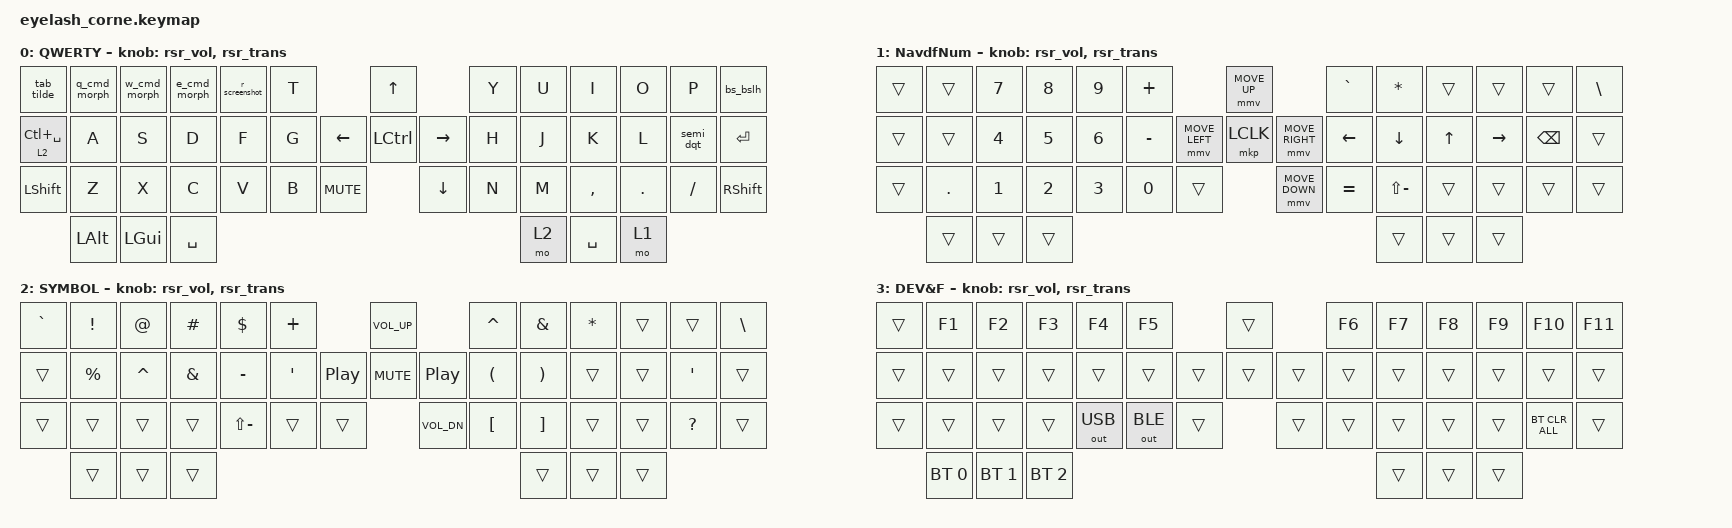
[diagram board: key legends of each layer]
#define ZMK_POINTING_DEFAULT_MOVE_VAL 1200  // 600
#define ZMK_POINTING_DEFAULT_SCRL_VAL 25   // 10

#include <input/processors.dtsi>
#include <zephyr/dt-bindings/input/input-event-codes.h>
#include <behaviors.dtsi>
#include <behaviors/runtime-sensor-rotate.dtsi>
#include <dt-bindings/zmk/bt.h>
#include <dt-bindings/zmk/keys.h>
#include <dt-bindings/zmk/outputs.h>
#include <dt-bindings/zmk/pointing.h>
#include <dt-bindings/zmk/rgb.h>

&mmv_input_listener { input-processors = <&zip_xy_scaler 2 1>; };

&msc_input_listener { input-processors = <&zip_scroll_scaler 2 1>; };

&msc {
    acceleration-exponent = <1>;      // 0
    time-to-max-speed-ms = <100>;       // 300
    delay-ms = <0>;                   // 0
};

&mmv {
    time-to-max-speed-ms = <500>;
    acceleration-exponent = <1>;
    trigger-period-ms = <16>;
};

&soft_off { hold-time-ms = <2000>; };

/ {
    behaviors {
      
        td_spc_mo1: td_spc_mo1 {
            compatible = "zmk,behavior-tap-dance";
            #binding-cells = <0>;
            bindings = <&kp SPACE>, <&mo 1>;
        };

     

        bs_bslh: bs_bslh {
            compatible = "zmk,behavior-mod-morph";
            #binding-cells = <0>;
            bindings = <&kp BSPC>, <&kp BSLH>;
            mods = <(MOD_RSFT)>;
        };

        semi_dqt: semi_dqt {
            compatible = "zmk,behavior-mod-morph";
            #binding-cells = <0>;
            bindings = <&kp SEMI>, <&kp DQT>;
            mods = <(MOD_RSFT)>;
        };

        td_comma_dun: td_comma_dun {
            compatible = "zmk,behavior-tap-dance";
            #binding-cells = <0>;
            tapping-term-ms = <130>;
            bindings = <&kp COMMA>, <&kp BSLH>;
        };

        tab_tilde: tab_tilde {
            compatible = "zmk,behavior-mod-morph";
            #binding-cells = <0>;
            bindings = <&kp TAB>, <&kp TILDE>;
            mods = <(MOD_RSFT)>;
        };

        ctrl_tab: ctrl_tab {
            compatible = "zmk,behavior-hold-tap";
            #binding-cells = <2>;
            flavor = "tap-preferred";
            tapping-term-ms = <200>;
            bindings = <&mo>, <&kp>;
        };

        r_shift_screenshot: r_shift_screenshot {
            compatible = "zmk,behavior-mod-morph";
            #binding-cells = <0>;
            bindings = <&kp LG(R)>, <&kp LG(LS(N4))>;
            mods = <(MOD_LSFT)>;
        };

        r_screenshot: r_screenshot {
            compatible = "zmk,behavior-mod-morph";
            #binding-cells = <0>;
            bindings = <&kp R>, <&r_shift_screenshot>;
            mods = <(MOD_LGUI)>;
        };

        // Cmd + Q -> Cmd + 1 / Double Cmd + Q -> Cmd + Q
        td_cmd_q: td_cmd_q {
            compatible = "zmk,behavior-tap-dance";
            #binding-cells = <0>;
            tapping-term-ms = <250>;
            bindings = <&kp LG(N1)>, <&kp LG(Q)>;
        };
        q_cmd_morph: q_cmd_morph {
            compatible = "zmk,behavior-mod-morph";
            #binding-cells = <0>;
            bindings = <&kp Q>, <&td_cmd_q>;
            mods = <(MOD_LGUI|MOD_RGUI)>;
        };

        // Cmd + W -> Cmd + 2 / Double Cmd + W -> Cmd + W
        td_cmd_w: td_cmd_w {
            compatible = "zmk,behavior-tap-dance";
            #binding-cells = <0>;
            tapping-term-ms = <200>;
            bindings = <&kp LG(N2)>, <&kp LG(W)>;
        };
        w_cmd_morph: w_cmd_morph {
            compatible = "zmk,behavior-mod-morph";
            #binding-cells = <0>;
            bindings = <&kp W>, <&td_cmd_w>;
            mods = <(MOD_LGUI|MOD_RGUI)>;
        };

        // Cmd + E -> Cmd + 3 / Double Cmd + E -> Cmd + E
        td_cmd_e: td_cmd_e {
            compatible = "zmk,behavior-tap-dance";
            #binding-cells = <0>;
            tapping-term-ms = <200>;
            bindings = <&kp LG(N3)>, <&kp LG(E)>;
        };
        e_cmd_morph: e_cmd_morph {
            compatible = "zmk,behavior-mod-morph";
            #binding-cells = <0>;
            bindings = <&kp E>, <&td_cmd_e>;
            mods = <(MOD_LGUI|MOD_RGUI)>;
        };
    };

    rgb_encoder: rgb_encoder {
        compatible = "zmk,behavior-sensor-rotate";
        #sensor-binding-cells = <0>;
        bindings = <&rgb_ug RGB_BRI>, <&rgb_ug RGB_BRD>;
    };

    scroll_encoder: scroll_encoder {
        compatible = "zmk,behavior-sensor-rotate";
        #sensor-binding-cells = <0>;
        bindings = <&msc SCRL_DOWN>, <&msc SCRL_UP>;

        tap-ms = <100>;
    };

    behaviors {
        rsr_vol: rsr_vol {
            compatible = "zmk,behavior-runtime-sensor-rotate";
            #sensor-binding-cells = <0>;
            tap-ms = <5>;
            cw-binding = <&kp C_VOL_UP>;
            ccw-binding = <&kp C_VOL_DN>;
        };

        rsr_trans: rsr_trans {
            compatible = "zmk,behavior-runtime-sensor-rotate";
            #sensor-binding-cells = <0>;
            tap-ms = <0>;
        };
    };

    combos {
        compatible = "zmk,combos";

        softoff {
            bindings = <&soft_off>;
            key-positions = <1 15 29>;
        };


        combo_esc {
            timeout-ms = <50>;
            key-positions = <0 1>;
            bindings = <&kp ESC>;
        };
    };

    conditional_layers {
        compatible = "zmk,conditional-layers";
        tri_layer {
            if-layers = <1 2>;
            then-layer = <3>;
        };
    };

    keymap {
        compatible = "zmk,keymap";

        default_layer {
            display-name = "QWERTY";
            bindings = <
&tab_tilde              &q_cmd_morph    &w_cmd_morph    &e_cmd_morph    &r_screenshot   &kp T                                   &kp UP                      &kp Y  &kp U        &kp I      &kp O    &kp P          &bs_bslh
&ctrl_tab 2 LC(SPACE)   &kp A           &kp S           &kp D           &kp F           &kp G                       &kp LEFT    &kp LCTRL   &kp RIGHT       &kp H  &kp J        &kp K      &kp L    &semi_dqt      &kp ENTER
&kp LSHIFT              &kp Z           &kp X           &kp C           &kp V           &kp B        &kp C_MUTE                 &kp DOWN                    &kp N  &kp M        &kp COMMA  &kp DOT  &kp FSLH       &kp RSHIFT
                        &kp LEFT_ALT    &kp LGUI        &kp SPACE                                                                                                  &mo 2  &kp SPACE    &mo 1
            >;

            sensor-bindings = <&rsr_vol &rsr_trans>;
        };

        lower_layer {
            display-name = "NavdfNum";
            bindings = <
&trans     &trans   &kp N7 &kp N8         &kp N9      &kp PLUS                               &mmv MOVE_UP                       &kp GRAVE   &kp STAR   &trans     &trans         &trans         &kp BSLH
&trans     &trans   &kp N4 &kp N5         &kp N6      &kp MINUS            &mmv MOVE_LEFT   &mkp LCLK      &mmv MOVE_RIGHT      &kp LEFT    &kp DOWN   &kp UP     &kp RIGHT      &kp BACKSPACE  &trans
&trans     &kp DOT  &kp N1 &kp N2         &kp N3      &kp N0        &trans                    &mmv MOVE_DOWN                    &kp EQUAL   &kp LS(MINUS)  &trans     &trans         &trans         &trans
                         &trans         &trans      &trans                                                                      &trans   &trans      &trans
            >;

            sensor-bindings = <&rsr_vol &rsr_trans>;
        };

        raise_layer {
            display-name = "SYMBOL";
            bindings = <
&kp GRAVE  &kp EXCL  &kp AT    &kp HASH     &kp DLLR           &kp PLUS                                 &kp C_VOL_UP                           &kp CARET      &kp AMPS     &kp STAR     &trans    &trans         &kp BSLH
&trans     &kp PRCNT &kp CARET &kp AMPS     &kp MINUS          &kp SQT                &kp C_PLAY_PAUSE  &kp C_MUTE    &kp C_PLAY_PAUSE         &kp LPAR       &kp RPAR     &trans       &trans    &kp SQT        &trans
&trans     &trans    &trans    &trans       &kp LS(MINUS)      &trans     &trans                        &kp C_VOL_DN                           &kp LBKT       &kp RBKT     &trans       &trans    &kp QMARK      &trans
                         &trans &trans &trans                                                                                                  &trans         &trans       &trans
            >;

            sensor-bindings = <&rsr_vol &rsr_trans>;
        };

        control_layer {
            display-name = "DEV&F";
            bindings = <
&trans     &kp F1       &kp F2       &kp F3       &kp F4        &kp F5                                   &trans                  &kp F6     &kp F7         &kp F8         &kp F9          &kp F10        &kp F11
&trans     &trans       &trans       &trans       &trans        &trans                         &trans    &trans      &trans      &trans     &trans         &trans         &trans          &trans         &trans
&trans     &trans       &trans       &trans       &out OUT_USB  &out OUT_BLE       &trans                      &trans                  &trans     &trans         &trans         &trans          &bt BT_CLR_ALL &trans
                                     &bt BT_SEL 0 &bt BT_SEL 1  &bt BT_SEL 2                                                 &trans     &trans         &trans
            >;

            sensor-bindings = <&rsr_vol &rsr_trans>;
        };
    };
};
